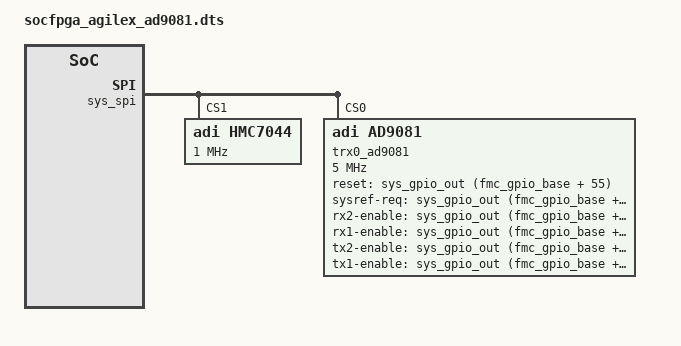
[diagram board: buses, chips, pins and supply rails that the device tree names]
// SPDX-License-Identifier: GPL-2.0
/*
 * Analog Devices AD9081
 * https://wiki.analog.com/resources/eval/user-guides/ad9081_fmca_ebz
 * https://wiki.analog.com/resources/tools-software/linux-drivers/iio-mxfe/ad9081
 *
 * hdl_project: <ad9081_fmca_ebz/a10soc>
 * board_revision: <>
 *
 * Copyright (C) 2023 Analog Devices Inc.
 */
/dts-v1/;

#include "socfpga_agilex_socdk.dts"
#include <dt-bindings/interrupt-controller/irq.h>
#include <dt-bindings/iio/adc/adi,ad9081.h>
#include <dt-bindings/jesd204/adxcvr.h>
#include <dt-bindings/iio/frequency/hmc7044.h>
#include <dt-bindings/iio/adc/adi,ad9081.h>

/ {
    clocks {
      sys_clk: sys_clk {
				#clock-cells = <0x0>;
				compatible = "fixed-clock";
				clock-frequency = <100000000>;
				clock-output-names = "system_clock";
			};

			dma_clk: dma_clk {
				#clock-cells = <0x0>;
				compatible = "fixed-clock";
				clock-frequency = <250000000>;
				clock-output-names = "dma_clk";
			};

			rx_link_clk: rx_link_clk {
				#clock-cells = <0x0>;
				compatible = "fixed-clock";
				clock-frequency = <150000000>;
				clock-output-names = "rx_link_clk";
			};

			tx_link_clk: tx_link_clk {
				#clock-cells = <0x0>;
				compatible = "fixed-clock";
				clock-frequency = <150000000>;
				clock-output-names = "tx_link_clk";
			};

    };

    soc {
      sys_hps_bridges: bridge@80000000 {
				compatible = "simple-bus";
				reg = <0x80000000 0x40000000>;
				#address-cells = <1>;
				#size-cells = <1>;
				ranges = <0x00000000 0x80000000 0x40000000>;

        sys_spi: spi@40 {
					compatible = "altr,spi-1.0";
					reg = <0x00000040 0x00000020>;
					interrupt-parent = <&intc>;
					interrupts = <0 24 IRQ_TYPE_LEVEL_HIGH>;
					#address-cells = <0x1>;
					#size-cells = <0x0>;

					hmc7044: hmc7044@1 {
						#address-cells = <1>;
						#size-cells = <0>;
						#clock-cells = <1>;
						compatible = "adi,hmc7044";
						reg = <1>;
						spi-max-frequency = <1000000>;

						jesd204-device;
						#jesd204-cells = <2>;
						jesd204-sysref-provider;

						adi,jesd204-max-sysref-frequency-hz = <2000000>; /* 2 MHz */

						/*
						* There are different versions of the AD9081-FMCA-EBZ & AD9082-FMCA-EBZ
						* VCXO = 122.880 MHz, XO = 122.880MHz (AD9081-FMC-EBZ & AD9082-FMC-EBZ)
						* VCXO = 100.000 MHz, XO = 100.000MHz (AD9081-FMC-EBZ-A2 & AD9082-FMC-EBZ-A2)
						* To determine which board is which, read the freqency printed on the VCXO
						* or use the fru-dump utility:
						* #fru-dump -b /sys/bus/i2c/devices/15-0050/eeprom
						*/

						//adi,pll1-clkin-frequencies = <122880000 30720000 0 0>;
						//adi,vcxo-frequency = <122880000>;

						adi,pll1-clkin-frequencies = <100000000 10000000 0 0>;
						adi,vcxo-frequency = <100000000>;

						adi,pll1-loop-bandwidth-hz = <200>;

						adi,pll2-output-frequency = <2400000000>;

						adi,sysref-timer-divider = <1024>;
						adi,pulse-generator-mode = <0>;

						adi,clkin0-buffer-mode  = <0x07>;
						adi,clkin1-buffer-mode  = <0x07>;
						adi,oscin-buffer-mode = <0x15>;

						adi,gpi-controls = <0x00 0x00 0x00 0x00>;
						adi,gpo-controls = <0x37 0x33 0x00 0x00>;

						clock-output-names =
								"hmc7044_out0", "hmc7044_out1", "hmc7044_out2",
								"hmc7044_out3", "hmc7044_out4", "hmc7044_out5",
								"hmc7044_out6", "hmc7044_out7", "hmc7044_out8",
								"hmc7044_out9", "hmc7044_out10", "hmc7044_out11",
								"hmc7044_out12", "hmc7044_out13";

						hmc7044_c2: channel@2 {
							reg = <2>;
							adi,extended-name = "DEV_REFCLK";
							adi,divider = <8>;
							adi,driver-mode = <HMC7044_DRIVER_MODE_LVDS>;	// LVDS
						};
						hmc7044_c3: channel@3 {
							reg = <3>;
							adi,extended-name = "DEV_SYSREF";
							adi,divider = <1536>;
							adi,driver-mode = <HMC7044_DRIVER_MODE_LVDS>;	// LVDS
							adi,jesd204-sysref-chan;
						};
						hmc7044_c6: channel@6 {
							reg = <6>;
							adi,extended-name = "CORE_CLK_TX";
							adi,divider = <8>;
							adi,driver-mode = <HMC7044_DRIVER_MODE_LVDS>;	// LVDS
						};
						hmc7044_c8: channel@8 {
							reg = <8>;
							adi,extended-name = "FPGA_REFCLK";
							adi,divider = <8>;
							adi,driver-mode = <HMC7044_DRIVER_MODE_LVDS>;	// LVDS
						};
						hmc7044_c10: channel@10 {
							reg = <10>;
							adi,extended-name = "CORE_CLK_RX";
							adi,divider = <8>;
							adi,driver-mode = <HMC7044_DRIVER_MODE_LVDS>;	// LVDS
						};
						hmc7044_c13: channel@13 {
							reg = <13>;
							adi,extended-name = "FPGA_SYSREF";
							adi,divider = <1536>;
							adi,driver-mode = <HMC7044_DRIVER_MODE_LVDS>;	// LVDS
							adi,jesd204-sysref-chan;
						};
					};

					trx0_ad9081: ad9081@0 {
						#address-cells = <1>;
						#size-cells = <0>;
						compatible = "adi,ad9081";
						reg = <0>;
						spi-max-frequency = <5000000>;
						jesd204-ignore-errors;

						/* Clocks */
						clocks = <&hmc7044 2>;
						clock-names = "dev_clk";

						clock-output-names = "rx_sampl_clk", "tx_sampl_clk";
						#clock-cells = <1>;

						jesd204-device;
						#jesd204-cells = <2>;
						jesd204-top-device = <0>; /* This is the TOP device */
						jesd204-link-ids = <FRAMER_LINK0_RX DEFRAMER_LINK0_TX>;

						jesd204-inputs =
							<&axi_ad9081_core_rx 0 FRAMER_LINK0_RX>,
							<&axi_ad9081_core_tx 0 DEFRAMER_LINK0_TX>;

						#define fmc_gpio_base (-32)

						reset-gpios =         <&sys_gpio_out (fmc_gpio_base + 55) 0>;
						sysref-req-gpios =    <&sys_gpio_out (fmc_gpio_base + 54) 0>;
						rx2-enable-gpios =    <&sys_gpio_out (fmc_gpio_base + 57) 0>;
						rx1-enable-gpios =    <&sys_gpio_out (fmc_gpio_base + 56) 0>;
						tx2-enable-gpios =    <&sys_gpio_out (fmc_gpio_base + 59) 0>;
						tx1-enable-gpios =    <&sys_gpio_out (fmc_gpio_base + 58) 0>;
						// refclk-stable-gpios = <&sys_gpio_out (fmc_gpio_base + 60) 0>;

						adi,tx-dacs {
							#size-cells = <0>;
							#address-cells = <1>;

							adi,dac-frequency-hz = /bits/ 64 <4800000000>;

							adi,main-data-paths {
								#address-cells = <1>;
								#size-cells = <0>;

								adi,interpolation = <8>;

								ad9081_dac0: dac@0 {
									reg = <0>;
									adi,crossbar-select = <&ad9081_tx_fddc_chan0>;
									adi,nco-frequency-shift-hz = /bits/ 64 <0>; /* 1000 MHz */
								};
								ad9081_dac1: dac@1 {
									reg = <1>;
									adi,crossbar-select = <&ad9081_tx_fddc_chan1>;
									adi,nco-frequency-shift-hz = /bits/ 64 <0>; /* 1100 MHz */
								};
								ad9081_dac2: dac@2 {
									reg = <2>;
									adi,crossbar-select = <&ad9081_tx_fddc_chan2>; /* All 4 channels @ dac2 */
									adi,nco-frequency-shift-hz = /bits/ 64 <0>;  /* 1200 MHz */
								};
								ad9081_dac3: dac@3 {
									reg = <3>;
									adi,crossbar-select = <&ad9081_tx_fddc_chan3>; /* All 4 channels @ dac2 */
									adi,nco-frequency-shift-hz = /bits/ 64 <0>; /* 1300 MHz */
								};
							};

							adi,channelizer-paths {
								#address-cells = <1>;
								#size-cells = <0>;
								adi,interpolation = <4>;

								ad9081_tx_fddc_chan0: channel@0 {
									reg = <0>;
									adi,gain = <2048>; /* 2048 * 10^(gain_dB/20) */
									adi,nco-frequency-shift-hz =  /bits/ 64 <0>;
								};
								ad9081_tx_fddc_chan1: channel@1 {
									reg = <1>;
									adi,gain = <2048>; /* 2048 * 10^(gain_dB/20) */
									adi,nco-frequency-shift-hz =  /bits/ 64 <0>;
								};
								ad9081_tx_fddc_chan2: channel@2 {
									reg = <2>;
									adi,gain = <2048>; /* 2048 * 10^(gain_dB/20) */
									adi,nco-frequency-shift-hz =  /bits/ 64 <0>;
								};
								ad9081_tx_fddc_chan3: channel@3 {
									reg = <3>;
									adi,gain = <2048>; /* 2048 * 10^(gain_dB/20) */
									adi,nco-frequency-shift-hz =  /bits/ 64 <0>;
								};
							};

							adi,jesd-links {
								#size-cells = <0>;
								#address-cells = <1>;

								ad9081_tx_jesd_l0: link@0 {
									#address-cells = <1>;
									#size-cells = <0>;
									reg = <0>;

									// adi,logical-lane-mapping = /bits/ 8 <7 5 0 1 6 2 3 4>;
									adi,logical-lane-mapping = /bits/ 8 <7 7 0 1 7 2 3 7>;
									adi,link-mode = <9>;			/* JESD Quick Configuration Mode */
									adi,subclass = <1>;			/* JESD SUBCLASS 0,1,2 */
									adi,version = <1>;			/* JESD VERSION 0=204A,1=204B,2=204C */
									adi,dual-link = <0>;			/* JESD Dual Link Mode */

									adi,converters-per-device = <8>;	/* JESD M */
									adi,octets-per-frame = <4>;		/* JESD F */

									adi,frames-per-multiframe = <32>;	/* JESD K */
									adi,converter-resolution = <16>;	/* JESD N */
									adi,bits-per-sample = <16>;		/* JESD NP' */
									adi,control-bits-per-sample = <0>;	/* JESD CS */
									adi,lanes-per-device = <4>;		/* JESD L */
									adi,samples-per-converter-per-frame = <1>; /* JESD S */
									adi,high-density = <0>;			/* JESD HD */
								};
							};
						};

						adi,rx-adcs {
							#size-cells = <0>;
							#address-cells = <1>;

							adi,adc-frequency-hz = /bits/ 64 <2400000000>;

							adi,main-data-paths {
								#address-cells = <1>;
								#size-cells = <0>;

								ad9081_adc0: adc@0 {
									reg = <0>;
									adi,decimation = <4>;
									adi,nco-frequency-shift-hz =  /bits/ 64 <0>;
									adi,nco-mixer-mode = <AD9081_ADC_NCO_VIF>;
								};
								ad9081_adc1: adc@1 {
									reg = <1>;
									adi,decimation = <4>;
									adi,nco-frequency-shift-hz =  /bits/ 64 <0>;
									adi,nco-mixer-mode = <AD9081_ADC_NCO_VIF>;
								};
								ad9081_adc2: adc@2 {
									reg = <2>;
									adi,decimation = <4>;
									adi,nco-frequency-shift-hz =  /bits/ 64 <0>;
									adi,nco-mixer-mode = <AD9081_ADC_NCO_VIF>;
								};
								ad9081_adc3: adc@3 {
									reg = <3>;
									adi,decimation = <4>;
									adi,nco-frequency-shift-hz =  /bits/ 64 <0>;
									adi,nco-mixer-mode = <AD9081_ADC_NCO_VIF>;
								};
							};

							adi,channelizer-paths {
								#address-cells = <1>;
								#size-cells = <0>;

								ad9081_rx_fddc_chan0: channel@0 {
									reg = <0>;
									adi,decimation = <4>;
									adi,gain = <2048>; /* 2048 * 10^(gain_dB/20) */
									adi,nco-frequency-shift-hz =  /bits/ 64 <0>;
								};
								ad9081_rx_fddc_chan1: channel@1 {
									reg = <1>;
									adi,decimation = <4>;
									adi,gain = <2048>; /* 2048 * 10^(gain_dB/20) */
									adi,nco-frequency-shift-hz =  /bits/ 64 <0>;
								};
								ad9081_rx_fddc_chan4: channel@4 {
									reg = <4>;
									adi,decimation = <4>;
									adi,gain = <2048>; /* 2048 * 10^(gain_dB/20) */
									adi,nco-frequency-shift-hz =  /bits/ 64 <0>;
								};
								ad9081_rx_fddc_chan5: channel@5 {
									reg = <5>;
									adi,decimation = <4>;
									adi,gain = <2048>; /* 2048 * 10^(gain_dB/20) */
									adi,nco-frequency-shift-hz =  /bits/ 64 <0>;
								};
							};

							adi,jesd-links {
								#size-cells = <0>;
								#address-cells = <1>;

								ad9081_rx_jesd_l0: link@0 {
									reg = <0>;
									adi,converter-select =
										<&ad9081_rx_fddc_chan0 FDDC_I>, <&ad9081_rx_fddc_chan0 FDDC_Q>,
										<&ad9081_rx_fddc_chan1 FDDC_I>, <&ad9081_rx_fddc_chan1 FDDC_Q>,
										<&ad9081_rx_fddc_chan4 FDDC_I>, <&ad9081_rx_fddc_chan4 FDDC_Q>,
										<&ad9081_rx_fddc_chan5 FDDC_I>, <&ad9081_rx_fddc_chan5 FDDC_Q>;

									// adi,logical-lane-mapping = /bits/ 8 <5 7 0 1 2 3 4 6>;
									adi,logical-lane-mapping = /bits/ 8 <7 7 0 1 2 3 7 7>;

									adi,link-mode = <10>;			/* JESD Quick Configuration Mode */
									adi,subclass = <1>;			/* JESD SUBCLASS 0,1,2 */
									adi,version = <1>;			/* JESD VERSION 0=204A,1=204B,2=204C */
									adi,dual-link = <0>;			/* JESD Dual Link Mode */

									adi,converters-per-device = <8>;	/* JESD M */
									adi,octets-per-frame = <4>;		/* JESD F */

									adi,frames-per-multiframe = <32>;	/* JESD K */
									adi,converter-resolution = <16>;	/* JESD N */
									adi,bits-per-sample = <16>;		/* JESD NP' */
									adi,control-bits-per-sample = <0>;	/* JESD CS */
									adi,lanes-per-device = <4>;		/* JESD L */
									adi,samples-per-converter-per-frame = <1>; /* JESD S */
									adi,high-density = <0>;			/* JESD HD */
								};
							};
						};
					};
				};

        axi_ad9081_tx_jesd: axi-jesd204-tx@C8000 {
					compatible = "adi,axi-jesd204-tx-1.0";
					reg = <0x000C8000 0x4000>;

					interrupt-parent = <&intc>;
					interrupts = <0 31 IRQ_TYPE_LEVEL_HIGH>;

					clocks = <&sys_clk>, <&tx_link_clk>, <&hmc7044 6>, <&axi_ad9081_adxcvr_tx 0>;
					clock-names = "s_axi_aclk", "link_clk", "device_clk", "lane_clk";

					#clock-cells = <0>;
					clock-output-names = "jesd_tx_lane_clk";

					jesd204-device;
					#jesd204-cells = <2>;
					jesd204-inputs = <&axi_ad9081_adxcvr_tx 0 DEFRAMER_LINK0_TX>;
				};

				axi_ad9081_adxcvr_tx: axi-ad9081-tx-xcvr@CC000 {
					compatible = "adi,altera-adxcvr-1.00.a";
					reg = <0x000CC000 0x00002000>,
								<0x10800000 0x00100000>,
								<0x10900000 0x00100000>,
								<0x10A00000 0x00100000>,
								<0x10B00000 0x00100000>;
								// <0x10C00000 0x00100000>,
								// <0x10D00000 0x00100000>,
								// <0x10E00000 0x00100000>,
								// <0x10F00000 0x00100000>;
								// <0x10000000 0x00002000>,
								// <0x10200000 0x00002000>;
								// <0x00084000 0x00002000>,
								// <0x00086000 0x00002000>,
								// <0x00088000 0x00002000>,
								// <0x0008A000 0x00002000>,
								// <0x0008C000 0x00002000>,
								// <0x0008E000 0x00002000>;
					reg-names = "adxcvr",  "adxcfg-0", "adxcfg-1",
															   "adxcfg-2", "adxcfg-3";
																//  "adxcfg-4", "adxcfg-5", "adxcfg-6", "adxcfg-7";

					clocks = <&hmc7044 8>, <&tx_link_clk>;
					clock-names = "ref", "link";

					#clock-cells = <0>;
					clock-output-names = "jesd204_tx_lane_clock";

					adi,stratix10;
					// adi,skip-pll-reconfiguration;

					jesd204-device;
					#jesd204-cells = <2>;
					jesd204-inputs =  <&hmc7044 0 DEFRAMER_LINK0_TX>;
				};

			tx_dma: tx-dmac@DC000 {
				compatible = "adi,axi-dmac-1.00.a";
				reg = <0x000DC000 0x00004000>;
				interrupt-parent = <&intc>;
				interrupts = <0 29 IRQ_TYPE_LEVEL_HIGH>;
				#dma-cells = <1>;
				clocks = <&dma_clk>;
			};

			axi_ad9081_rx_jesd: axi-jesd204-rx@C0000 {
				compatible = "adi,axi-jesd204-rx-1.0";
				reg = <0x000C0000 0x4000>;

				interrupt-parent = <&intc>;
				interrupts = <0 30 IRQ_TYPE_LEVEL_HIGH>;

				clocks = <&sys_clk>, <&rx_link_clk>, <&hmc7044 10>, <&axi_ad9081_adxcvr_rx 0>;
				clock-names = "s_axi_aclk", "link_clk", "device_clk", "lane_clk";

				#clock-cells = <0>;
				clock-output-names = "jesd_rx_lane_clk";

				jesd204-device;
				#jesd204-cells = <2>;
				jesd204-inputs = <&axi_ad9081_adxcvr_rx 0 FRAMER_LINK0_RX>;
			};

			axi_ad9081_adxcvr_rx: axi-ad9081-rx-xcvr@C4000 {
				compatible = "adi,altera-adxcvr-1.00.a";
				reg = <0x000C4000 0x00002000>,
							<0x10000000 0x00100000>,
							<0x10100000 0x00100000>,
							<0x10200000 0x00100000>,
							<0x10300000 0x00100000>;
							// <0x10400000 0x00100000>,
							// <0x10500000 0x00100000>,
							// <0x10600000 0x00100000>,
							// <0x10700000 0x00100000>;
							// <0x01000000 0x00002000>,
							// <0x01020000 0x00002000>;
							// <0x00044000 0x00002000>,
							// <0x00046000 0x00002000>,
							// <0x00048000 0x00002000>,
							// <0x0004A000 0x00002000>,
							// <0x0004C000 0x00002000>,
							// <0x0004E000 0x00002000>;
				reg-names = "adxcvr", "adxcfg-0", "adxcfg-1",
															"adxcfg-2", "adxcfg-3";
															// "adxcfg-4",
															// "adxcfg-5", "adxcfg-6", "adxcfg-7";

				clocks = <&hmc7044 8>, <&rx_link_clk>;
				clock-names = "ref", "link";

				#clock-cells = <0>;
				clock-output-names = "jesd204_rx_lane_clock";

				adi,stratix10;
				// adi,skip-pll-reconfiguration;

				jesd204-device;
				#jesd204-cells = <2>;
				jesd204-inputs =  <&hmc7044 0 FRAMER_LINK0_RX>;
			};

			rx_dma: rx-dmac@D8000 {
				compatible = "adi,axi-dmac-1.00.a";
				reg = <0x000D8000 0x00004000>;
				interrupt-parent = <&intc>;
				interrupts = <0 28 IRQ_TYPE_LEVEL_HIGH>;
				#dma-cells = <1>;
				clocks = <&dma_clk>;
			};

			axi_ad9081_core_rx: axi-ad9081-rx-hpc@D2000 {
				compatible = "adi,axi-ad9081-rx-1.0";
				reg = <0x000D2000 0x00002000>;
				dmas = <&rx_dma 0>;
				dma-names = "rx";
				spibus-connected = <&trx0_ad9081>;

				jesd204-device;
				#jesd204-cells = <2>;
				jesd204-inputs = <&axi_ad9081_rx_jesd 0 FRAMER_LINK0_RX>;
			};

			axi_ad9081_core_tx: axi-ad9081-tx-hpc@D4000 {
				compatible = "adi,axi-ad9081-tx-1.0";
				reg = <0x000D4000 0x00004000>;
				dmas = <&tx_dma 0>;
				dma-names = "tx";
				clocks = <&trx0_ad9081 1>;
				clock-names = "sampl_clk";
				spibus-connected = <&trx0_ad9081>;

				jesd204-device;
				#jesd204-cells = <2>;
				jesd204-inputs = <&axi_ad9081_tx_jesd 0 DEFRAMER_LINK0_TX>;
			};
    };
  };
};
